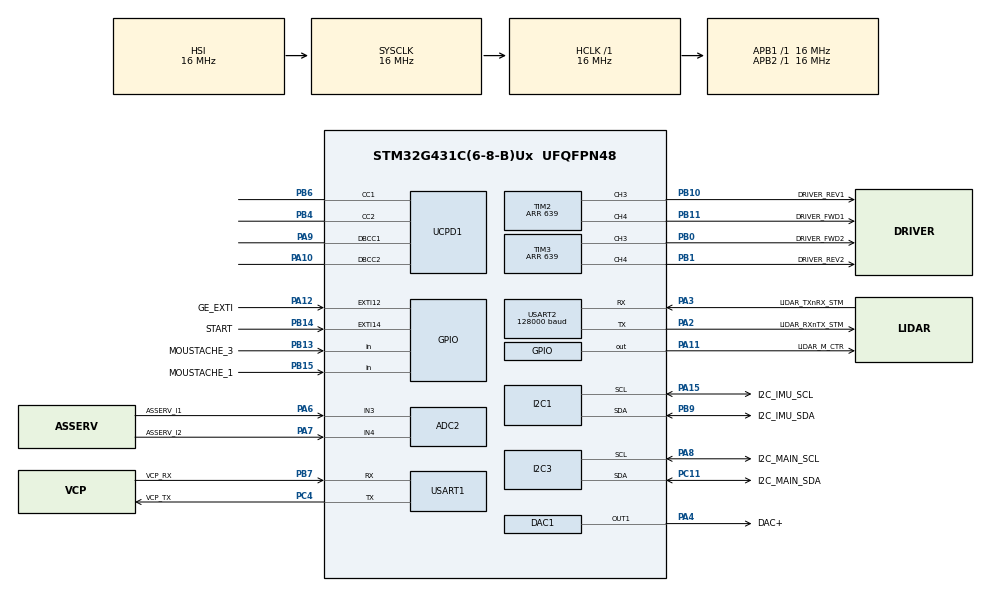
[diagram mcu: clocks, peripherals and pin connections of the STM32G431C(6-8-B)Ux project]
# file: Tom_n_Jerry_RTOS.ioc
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ADC2.Channel-0\#ChannelRegularConversion=ADC_CHANNEL_3
ADC2.Channel-1\#ChannelRegularConversion=ADC_CHANNEL_4
ADC2.ContinuousConvMode=DISABLE
ADC2.DMAContinuousRequests=ENABLE
ADC2.EOCSelection=ADC_EOC_SEQ_CONV
ADC2.ExternalTrigConv=ADC_EXTERNALTRIG_T15_TRGO
ADC2.NbrOfConversion=2
ADC2.NbrOfConversionFlag=1
ADC2.OffsetNumber-0\#ChannelRegularConversion=ADC_OFFSET_NONE
ADC2.OffsetNumber-1\#ChannelRegularConversion=ADC_OFFSET_NONE
ADC2.Rank-0\#ChannelRegularConversion=1
ADC2.Rank-1\#ChannelRegularConversion=2
ADC2.SamplingTime-0\#ChannelRegularConversion=ADC_SAMPLETIME_24CYCLES_5
ADC2.SamplingTime-1\#ChannelRegularConversion=ADC_SAMPLETIME_24CYCLES_5
DAC1.DAC_SignedFormat-DAC_OUT1=ENABLE
DAC1.DAC_Trigger_OUT1-DAC_OUT1=DAC_TRIGGER_T6_TRGO
Dma.ADC2.2.Direction=DMA_PERIPH_TO_MEMORY
Dma.ADC2.2.EventEnable=DISABLE
Dma.ADC2.2.Instance=DMA1_Channel3
Dma.ADC2.2.MemDataAlignment=DMA_MDATAALIGN_HALFWORD
Dma.ADC2.2.MemInc=DMA_MINC_ENABLE
Dma.ADC2.2.Mode=DMA_CIRCULAR
Dma.ADC2.2.PeriphDataAlignment=DMA_PDATAALIGN_HALFWORD
Dma.ADC2.2.PeriphInc=DMA_PINC_DISABLE
Dma.ADC2.2.Polarity=HAL_DMAMUX_REQ_GEN_RISING
Dma.ADC2.2.Priority=DMA_PRIORITY_LOW
Dma.ADC2.2.RequestNumber=1
Dma.ADC2.2.SignalID=NONE
Dma.ADC2.2.SyncEnable=DISABLE
Dma.ADC2.2.SyncPolarity=HAL_DMAMUX_SYNC_NO_EVENT
Dma.ADC2.2.SyncRequestNumber=1
Dma.ADC2.2.SyncSignalID=NONE
Dma.DAC1_CH1.4.Direction=DMA_MEMORY_TO_PERIPH
Dma.DAC1_CH1.4.EventEnable=DISABLE
Dma.DAC1_CH1.4.Instance=DMA1_Channel5
Dma.DAC1_CH1.4.MemDataAlignment=DMA_MDATAALIGN_BYTE
Dma.DAC1_CH1.4.MemInc=DMA_MINC_ENABLE
Dma.DAC1_CH1.4.Mode=DMA_NORMAL
Dma.DAC1_CH1.4.PeriphDataAlignment=DMA_PDATAALIGN_BYTE
Dma.DAC1_CH1.4.PeriphInc=DMA_PINC_DISABLE
Dma.DAC1_CH1.4.Polarity=HAL_DMAMUX_REQ_GEN_RISING
Dma.DAC1_CH1.4.Priority=DMA_PRIORITY_LOW
Dma.DAC1_CH1.4.RequestNumber=1
Dma.DAC1_CH1.4.SignalID=NONE
Dma.DAC1_CH1.4.SyncEnable=DISABLE
Dma.DAC1_CH1.4.SyncPolarity=HAL_DMAMUX_SYNC_NO_EVENT
Dma.DAC1_CH1.4.SyncRequestNumber=1
Dma.DAC1_CH1.4.SyncSignalID=NONE
Dma.Request0=UCPD1_RX
Dma.Request1=UCPD1_TX
Dma.Request2=ADC2
Dma.Request3=USART2_RX
Dma.Request4=DAC1_CH1
Dma.UCPD1_RX.0.Direction=DMA_PERIPH_TO_MEMORY
Dma.UCPD1_RX.0.EventEnable=DISABLE
Dma.UCPD1_RX.0.Instance=DMA1_Channel1
Dma.UCPD1_RX.0.MemDataAlignment=DMA_MDATAALIGN_BYTE
Dma.UCPD1_RX.0.MemInc=DMA_MINC_ENABLE
Dma.UCPD1_RX.0.Mode=DMA_NORMAL
Dma.UCPD1_RX.0.PeriphDataAlignment=DMA_PDATAALIGN_BYTE
Dma.UCPD1_RX.0.PeriphInc=DMA_PINC_DISABLE
Dma.UCPD1_RX.0.Polarity=HAL_DMAMUX_REQ_GEN_RISING
Dma.UCPD1_RX.0.Priority=DMA_PRIORITY_LOW
Dma.UCPD1_RX.0.RequestNumber=1
Dma.UCPD1_RX.0.SignalID=NONE
Dma.UCPD1_RX.0.SyncEnable=DISABLE
Dma.UCPD1_RX.0.SyncPolarity=HAL_DMAMUX_SYNC_NO_EVENT
Dma.UCPD1_RX.0.SyncRequestNumber=1
Dma.UCPD1_RX.0.SyncSignalID=NONE
Dma.UCPD1_TX.1.Direction=DMA_MEMORY_TO_PERIPH
Dma.UCPD1_TX.1.EventEnable=DISABLE
Dma.UCPD1_TX.1.Instance=DMA1_Channel2
Dma.UCPD1_TX.1.MemDataAlignment=DMA_MDATAALIGN_BYTE
Dma.UCPD1_TX.1.MemInc=DMA_MINC_ENABLE
Dma.UCPD1_TX.1.Mode=DMA_NORMAL
Dma.UCPD1_TX.1.PeriphDataAlignment=DMA_PDATAALIGN_BYTE
Dma.UCPD1_TX.1.PeriphInc=DMA_PINC_DISABLE
Dma.UCPD1_TX.1.Polarity=HAL_DMAMUX_REQ_GEN_RISING
Dma.UCPD1_TX.1.Priority=DMA_PRIORITY_LOW
Dma.UCPD1_TX.1.RequestNumber=1
Dma.UCPD1_TX.1.SignalID=NONE
Dma.UCPD1_TX.1.SyncEnable=DISABLE
Dma.UCPD1_TX.1.SyncPolarity=HAL_DMAMUX_SYNC_NO_EVENT
Dma.UCPD1_TX.1.SyncRequestNumber=1
Dma.UCPD1_TX.1.SyncSignalID=NONE
Dma.USART2_RX.3.Direction=DMA_PERIPH_TO_MEMORY
Dma.USART2_RX.3.EventEnable=DISABLE
Dma.USART2_RX.3.Instance=DMA1_Channel4
Dma.USART2_RX.3.MemDataAlignment=DMA_MDATAALIGN_BYTE
Dma.USART2_RX.3.MemInc=DMA_MINC_ENABLE
Dma.USART2_RX.3.Mode=DMA_CIRCULAR
Dma.USART2_RX.3.PeriphDataAlignment=DMA_PDATAALIGN_BYTE
Dma.USART2_RX.3.PeriphInc=DMA_PINC_DISABLE
Dma.USART2_RX.3.Polarity=HAL_DMAMUX_REQ_GEN_RISING
Dma.USART2_RX.3.Priority=DMA_PRIORITY_HIGH
Dma.USART2_RX.3.RequestNumber=1
Dma.USART2_RX.3.SignalID=NONE
Dma.USART2_RX.3.SyncEnable=DISABLE
Dma.USART2_RX.3.SyncPolarity=HAL_DMAMUX_SYNC_NO_EVENT
Dma.USART2_RX.3.SyncRequestNumber=1
Dma.USART2_RX.3.SyncSignalID=NONE
FREERTOS.Tasks01=defaultTask,-3,64,StartDefaultTask,As weak,NULL,Dynamic,NULL,NULL
FREERTOS.configGENERATE_RUN_TIME_STATS=1
FREERTOS.configMINIMAL_STACK_SIZE=64
FREERTOS.configTOTAL_HEAP_SIZE=16000
FREERTOS.configUSE_NEWLIB_REENTRANT=1
FREERTOS.configUSE_STATS_FORMATTING_FUNCTIONS=1
FREERTOS.configUSE_TRACE_FACILITY=1
I2C1.Timing=0x00503D58
I2C3.Timing=0x00503D58
Mcu.Family=STM32G4
Mcu.Name=STM32G431C(6-8-B)Ux
Mcu.Package=UFQFPN48
NVIC.ADC1_2_IRQn=true\:5\:0\:false\:false\:true\:true\:true\:true\:true
NVIC.DMA1_Channel1_IRQn=true\:5\:0\:false\:false\:true\:true\:false\:true\:true
NVIC.DMA1_Channel2_IRQn=true\:5\:0\:false\:false\:true\:true\:false\:true\:true
NVIC.DMA1_Channel3_IRQn=true\:5\:0\:false\:false\:true\:true\:false\:true\:true
NVIC.DMA1_Channel4_IRQn=true\:5\:0\:false\:false\:true\:true\:false\:true\:true
NVIC.DMA1_Channel5_IRQn=true\:5\:0\:false\:false\:true\:true\:false\:true\:true
NVIC.EXTI15_10_IRQn=true\:5\:0\:false\:false\:true\:true\:true\:true\:true
NVIC.PriorityGroup=NVIC_PRIORITYGROUP_4
NVIC.TIM1_BRK_TIM15_IRQn=true\:5\:0\:true\:false\:true\:true\:true\:true\:true
NVIC.TIM1_TRG_COM_TIM17_IRQn=true\:15\:0\:false\:false\:true\:false\:false\:true\:true
NVIC.TIM1_UP_TIM16_IRQn=true\:5\:0\:false\:false\:true\:true\:true\:true\:true
NVIC.TIM6_DAC_IRQn=true\:5\:0\:false\:false\:true\:true\:true\:true\:true
NVIC.TimeBase=TIM1_TRG_COM_TIM17_IRQn
NVIC.TimeBaseIP=TIM17
NVIC.UCPD1_IRQn=true\:5\:0\:false\:false\:true\:true\:true\:false\:true
NVIC.USART1_IRQn=true\:5\:0\:false\:false\:true\:true\:true\:true\:true
NVIC.USART2_IRQn=true\:5\:0\:false\:false\:true\:true\:true\:true\:true
PA10.Mode=EnableDeadBattery
PA10.Signal=UCPD1_DBCC2
PA11.GPIO_Label=LIDAR_M_CTR
PA11.PinState=GPIO_PIN_SET
PA11.Signal=GPIO_Output
PA12.GPIO_Label=GE_EXTI
PA12.GPIO_ModeDefaultEXTI=GPIO_MODE_IT_RISING
PA12.GPIO_PuPd=GPIO_PULLUP
PA12.Signal=GPXTI12
PA13.Mode=Trace_Asynchronous_SW
PA13.Signal=SYS_JTMS-SWDIO
PA14.Mode=Trace_Asynchronous_SW
PA14.Signal=SYS_JTCK-SWCLK
PA15.GPIO_Label=I2C_IMU_SCL
PA15.Mode=I2C
PA15.Signal=I2C1_SCL
PA2.GPIO_Label=LIDAR_RXnTX_STM
PA2.Mode=Asynchronous
PA2.Signal=USART2_TX
PA3.GPIO_Label=LIDAR_TXnRX_STM
PA3.Mode=Asynchronous
PA3.Signal=USART2_RX
PA4.GPIO_Label=DAC+
PA4.Signal=COMP_DAC11_group
PA6.GPIO_Label=ASSERV_I1
PA6.Mode=IN3-Single-Ended
PA6.Signal=ADC2_IN3
PA7.GPIO_Label=ASSERV_I2
PA7.Mode=IN4-Single-Ended
PA7.Signal=ADC2_IN4
PA8.GPIO_Label=I2C_MAIN_SCL
PA8.Mode=I2C
PA8.Signal=I2C3_SCL
PA9.Mode=EnableDeadBattery
PA9.Signal=UCPD1_DBCC1
PB0.GPIO_Label=DRIVER_FWD2
PB0.Signal=S_TIM3_CH3
PB1.GPIO_Label=DRIVER_REV2
PB1.Signal=S_TIM3_CH4
PB10.GPIO_Label=DRIVER_REV1
PB10.Signal=S_TIM2_CH3
PB11.GPIO_Label=DRIVER_FWD1
PB11.Signal=S_TIM2_CH4
PB13.GPIO_Label=MOUSTACHE_3
PB13.Signal=GPIO_Input
PB14.GPIO_Label=START
PB14.Signal=GPXTI14
PB15.GPIO_Label=MOUSTACHE_1
PB15.Signal=GPIO_Input
PB3.Mode=Trace_Asynchronous_SW
PB3.Signal=SYS_JTDO-SWO
PB4.Mode=Sink_AllSignals
PB4.Signal=UCPD1_CC2
PB6.Mode=Sink_AllSignals
PB6.Signal=UCPD1_CC1
PB7.GPIO_Label=VCP_RX
PB7.Mode=Asynchronous
PB7.Signal=USART1_RX
PB9.GPIO_Label=I2C_IMU_SDA
PB9.Mode=I2C
PB9.Signal=I2C1_SDA
PC11.GPIO_Label=I2C_MAIN_SDA
PC11.Mode=I2C
PC11.Signal=I2C3_SDA
PC4.GPIO_Label=VCP_TX
PC4.Mode=Asynchronous
PC4.Signal=USART1_TX
PF0-OSC_IN.Mode=HSE-External-Oscillator
PF0-OSC_IN.Signal=RCC_OSC_IN
PF1-OSC_OUT.Mode=HSE-External-Oscillator
PF1-OSC_OUT.Signal=RCC_OSC_OUT
ProjectManager.HeapSize=0x000
ProjectManager.StackSize=0x400
ProjectManager.TargetToolchain=STM32CubeIDE
RCC.AHBFreq_Value=16000000
RCC.APB1Freq_Value=16000000
RCC.APB1TimFreq_Value=16000000
RCC.APB2Freq_Value=16000000
RCC.APB2TimFreq_Value=16000000
RCC.CortexFreq_Value=16000000
RCC.EXTERNAL_CLOCK_VALUE=12288000
RCC.HCLKFreq_Value=16000000
RCC.HSE_VALUE=8000000
RCC.HSI48_VALUE=48000000
RCC.HSI_VALUE=16000000
RCC.LSE_VALUE=32768
RCC.SYSCLKFreq_VALUE=16000000
RCC.USBFreq_Value=64000000
RCC.VCOOutputFreq_Value=128000000
SH.COMP_DAC11_group.0=DAC1_OUT1,DAC_OUT1
SH.S_TIM2_CH3.0=TIM2_CH3,PWM Generation3 CH3
SH.S_TIM2_CH4.0=TIM2_CH4,PWM Generation4 CH4
SH.S_TIM3_CH3.0=TIM3_CH3,PWM Generation3 CH3
SH.S_TIM3_CH4.0=TIM3_CH4,PWM Generation4 CH4
TIM15.AutoReloadPreload=TIM_AUTORELOAD_PRELOAD_ENABLE
TIM15.PeriodNoDither=15999
TIM15.Prescaler=999
TIM15.TIM_MasterOutputTrigger=TIM_TRGO_UPDATE
TIM16.PeriodNoDither=15999
TIM16.Prescaler=4
TIM2.Channel-PWM\ Generation3\ CH3=TIM_CHANNEL_3
TIM2.Channel-PWM\ Generation4\ CH4=TIM_CHANNEL_4
TIM2.PeriodNoDither=639
TIM2.PulseNoDither_3=0
TIM2.PulseNoDither_4=0
TIM3.Channel-PWM\ Generation3\ CH3=TIM_CHANNEL_3
TIM3.Channel-PWM\ Generation4\ CH4=TIM_CHANNEL_4
TIM3.PeriodNoDither=639
TIM6.Prescaler=2000
TIM6.TIM_MasterOutputTrigger=TIM_TRGO_UPDATE
TIM7.PeriodNoDither=15999
USART1.SwapParam=ADVFEATURE_SWAP_ENABLE
USART1.VirtualMode-Asynchronous=VM_ASYNC
USART2.BaudRate=128000
USART2.VirtualMode-Asynchronous=VM_ASYNC
USBPD.CAD_AccesorySupport_P0=USBPD_FALSE
USBPD.Is_Alert_Supported_P0=USBPD_TRUE
USBPD.Is_FirmUpdateRequest_Supported_P0=USBPD_TRUE
USBPD.Is_GetBattery_Supported_P0=USBPD_TRUE
USBPD.Is_GetCountryCodes_Supported_P0=USBPD_TRUE
USBPD.Is_GetCountryInfo_Supported_P0=USBPD_TRUE
USBPD.Is_GetManufacturerInfo_Supported_P0=USBPD_TRUE
USBPD.Is_GetPPSStatus_Supported_P0=USBPD_TRUE
USBPD.Is_GetStatus_Supported_P0=USBPD_TRUE
USBPD.Is_SecurityRequest_Supported_P0=USBPD_TRUE
USBPD.Is_SrcCapaExt_Supported_P0=USBPD_TRUE
USBPD.PE_AttemptsDiscovSOP_P0=USBPD_TRUE
USBPD.PE_CapscounterSupport_P0=USBPD_TRUE
USBPD.PE_DataSwap_P0=USBPD_TRUE
USBPD.PE_RespondsToDiscovSOP_P0=USBPD_TRUE
USBPD.PE_UnchunkSupport_P0=USBPD_TRUE
USBPD.PE_VconnSwap_P0=USBPD_TRUE
USBPD.USBPD_PDO_FIXED_EXT_POWER_P0=VUSBPD_PDO_FIXED_EXT_POWER_SUPPORTED
USBPD.USBPD_PDO_FIXED_HIGHERCAPAB_P0=USBPD_PDO_SNK_FIXED_HIGHERCAPAB_SUPPORTED
USBPD.USBPD_PDO_FIXED_USBCOMM_P0=USBPD_PDO_FIXED_USBCOMM_SUPPORTED
USBPD.USBPD_PDO_FIXED_USBSUSPEND_P0=USBPD_PDO_SRC_FIXED_USBSUSPEND_SUPPORTED
USBPD.USBPD_PORT0_PDO_SNK_FIXED_SET_OP_CURRENT_0=3000
USBPD.USBPD_PORT0_PDO_SNK_FIXED_SET_VOLTAGE_0=9000
VP_FREERTOS_VS_CMSIS_V1.Mode=CMSIS_V1
VP_SYS_VS_DBSignals.Mode=DisableDeadBatterySignals
VP_SYS_VS_tim17.Mode=TIM17
VP_TIM15_VS_ClockSourceINT.Mode=Internal
VP_TIM16_VS_ClockSourceINT.Mode=Enable_Timer
VP_TIM2_VS_ClockSourceINT.Mode=Internal
VP_TIM3_VS_ClockSourceINT.Mode=Internal
VP_TIM4_VS_ClockSourceINT.Mode=Internal
VP_TIM6_VS_ClockSourceINT.Mode=Enable_Timer
VP_TIM7_VS_ClockSourceINT.Mode=Enable_Timer
VP_USBPD_VS_PD3MINSNK.Mode=PD3_Min_Snk
VP_USBPD_VS_USBPD1.Mode=USBPD_P0
VP_USBPD_VS_usbpd_tim1.Mode=TIM1
board=custom

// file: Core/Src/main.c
/* USER CODE BEGIN Header */
/**
 ******************************************************************************
 * @file           : main.c
 * @brief          : Main program body
 ******************************************************************************
 * @attention
 *
 * Copyright (c) 2024 STMicroelectronics.
 * All rights reserved.
 *
 * This software is licensed under terms that can be found in the LICENSE file
 * in the root directory of this software component.
 * If no LICENSE file comes with this software, it is provided AS-IS.
 *
 ******************************************************************************
 */
/* USER CODE END Header */
#include "main.h"
#include "cmsis_os.h"
#include "adc.h"
#include "dac.h"
#include "dma.h"
#include "i2c.h"
#include "tim.h"
#include "ucpd.h"
#include "usart.h"
#include "usbpd.h"
#include "gpio.h"

/* USER CODE BEGIN Includes */
#include "callBack.h"
#include "asserv.h"
#include "changeMode.h"
#include "lidar.h"
#include "init.h"

/* USER CODE END Includes */

/* USER CODE BEGIN PD */
#define TASK_STACK_DEPTH_SHELL 2048
#define TASK_PRIORITY_SHELL 2

#define TASK_STACK_DEPTH_ASSERV_I 64
#define TASK_PRIORITY_ASSERV_I 2

#define TASK_STACK_DEPTH_ASSERV_XYZ 64
#define TASK_PRIORITY_ASSERV_XYZ 3

#define TASK_STACK_DEPTH_CHANGEMODE 64
#define TASK_PRIORITY_CHANGEMODE 10

#define TASK_STACK_DEPTH_LIDAR 512
#define TASK_PRIORITY_LIDAR 5
/* USER CODE END PD */

/* USER CODE BEGIN PV */
HeapStats_t heapStats;

TaskHandle_t h_task_shell = NULL;
TaskHandle_t h_task_asserv_I = NULL;
TaskHandle_t h_task_asserv_XYZ = NULL;
TaskHandle_t h_task_changemenMode = NULL;
TaskHandle_t h_task_init= NULL;
TaskHandle_t h_task_LIDAR_Take = NULL;
TaskHandle_t h_task_LIDAR_Process = NULL;

SemaphoreHandle_t semb_halfCllbck;
SemaphoreHandle_t semb_cpltCllbck;

/* USER CODE END PV */

void SystemClock_Config(void);
void MX_FREERTOS_Init(void);

int main(void)
{

  /* MCU Configuration--------------------------------------------------------*/

  /* Reset of all peripherals, Initializes the Flash interface and the Systick. */
  HAL_Init();

  /* Configure the system clock */
  SystemClock_Config();

  /* Initialize all configured peripherals */
  MX_GPIO_Init();
  MX_DMA_Init();
  MX_ADC2_Init();
  MX_DAC1_Init();
  MX_I2C1_Init();
  MX_I2C3_Init();
  MX_TIM2_Init();
  MX_TIM3_Init();
  MX_TIM4_Init();
  MX_UCPD1_Init();
  MX_USART1_UART_Init();
  MX_USART2_UART_Init();
  MX_TIM15_Init();
  MX_TIM16_Init();
  MX_TIM6_Init();
  MX_TIM7_Init();
  /* USER CODE BEGIN 2 */

	semb_cpltCllbck = xSemaphoreCreateBinary();
	semb_halfCllbck = xSemaphoreCreateBinary();

	shell_init();
	lidar_init();
	changement_mode_init();

	vPortGetHeapStats(&heapStats);
	//xTaskCreate(init_run , 				"Initalisation",TASK_STACK_DEPTH_CHANGEMODE, NULL, 1, &h_task_init) != pdPASS ? Error_Handler():(void)0;
	vPortGetHeapStats(&heapStats);
	xTaskCreate(changeMode_run,			"Changement MODE", TASK_STACK_DEPTH_CHANGEMODE, NULL, TASK_PRIORITY_CHANGEMODE, &h_task_changemenMode) != pdPASS ? Error_Handler():(void)0;
	//vPortGetHeapStats(&heapStats);
	xTaskCreate(asserv_courant_run, 	"Asserv Courant", TASK_STACK_DEPTH_ASSERV_I, NULL, TASK_PRIORITY_ASSERV_I, &h_task_asserv_I) != pdPASS ? Error_Handler():(void)0;
	vPortGetHeapStats(&heapStats);
	//xTaskCreate(asserv_position_run, 	"Asserv Position", TASK_STACK_DEPTH_ASSERV_XYZ, NULL, TASK_PRIORITY_ASSERV_XYZ, &h_task_asserv_XYZ) != pdPASS ? Error_Handler():(void)0;
	vPortGetHeapStats(&heapStats);

	xTaskCreate(lidarprocess,			"LIDAR_Process", TASK_STACK_DEPTH_LIDAR, NULL, TASK_PRIORITY_LIDAR, &h_task_LIDAR_Process) != pdPASS ? Error_Handler():(void)0;
	vPortGetHeapStats(&heapStats);
	xTaskCreate(lidarTake,				"LIDAR_Take", TASK_STACK_DEPTH_LIDAR, NULL, TASK_PRIORITY_LIDAR+1, &h_task_LIDAR_Take) != pdPASS ? Error_Handler():(void)0;
	vPortGetHeapStats(&heapStats);
	xTaskCreate(shell_run,				"Shell", TASK_STACK_DEPTH_SHELL, NULL, TASK_PRIORITY_SHELL, &h_task_shell) != pdPASS ? Error_Handler():(void)0;
	vPortGetHeapStats(&heapStats);
	osKernelStart();
  /* USER CODE END 2 */

  /* USBPD initialisation ---------------------------------*/
  MX_USBPD_Init();

  /* Call init function for freertos objects (in cmsis_os2.c) */
  MX_FREERTOS_Init();

  /* Start scheduler */
  osKernelStart();

  /* We should never get here as control is now taken by the scheduler */

  /* Infinite loop */
	while (1)
	{

	}
}

void SystemClock_Config(void)
{
  RCC_OscInitTypeDef RCC_OscInitStruct = {0};
  RCC_ClkInitTypeDef RCC_ClkInitStruct = {0};

  /** Configure the main internal regulator output voltage
  */
  HAL_PWREx_ControlVoltageScaling(PWR_REGULATOR_VOLTAGE_SCALE1);

  /** Initializes the RCC Oscillators according to the specified parameters
  * in the RCC_OscInitTypeDef structure.
  */
  RCC_OscInitStruct.OscillatorType = RCC_OSCILLATORTYPE_HSI;
  RCC_OscInitStruct.HSIState = RCC_HSI_ON;
  RCC_OscInitStruct.HSICalibrationValue = RCC_HSICALIBRATION_DEFAULT;
  RCC_OscInitStruct.PLL.PLLState = RCC_PLL_NONE;
  if (HAL_RCC_OscConfig(&RCC_OscInitStruct) != HAL_OK)
  {
    Error_Handler();
  }

  /** Initializes the CPU, AHB and APB buses clocks
  */
  RCC_ClkInitStruct.ClockType = RCC_CLOCKTYPE_HCLK|RCC_CLOCKTYPE_SYSCLK
                              |RCC_CLOCKTYPE_PCLK1|RCC_CLOCKTYPE_PCLK2;
  RCC_ClkInitStruct.SYSCLKSource = RCC_SYSCLKSOURCE_HSI;
  RCC_ClkInitStruct.AHBCLKDivider = RCC_SYSCLK_DIV1;
  RCC_ClkInitStruct.APB1CLKDivider = RCC_HCLK_DIV1;
  RCC_ClkInitStruct.APB2CLKDivider = RCC_HCLK_DIV1;

  if (HAL_RCC_ClockConfig(&RCC_ClkInitStruct, FLASH_LATENCY_0) != HAL_OK)
  {
    Error_Handler();
  }
}

void HAL_TIM_PeriodElapsedCallback(TIM_HandleTypeDef *htim)
{
  /* USER CODE BEGIN Callback 0 */
	CUSTOM_TIM_PeriodElapsedCallback(htim);
  /* USER CODE END Callback 0 */
  if (htim->Instance == TIM17) {
    HAL_IncTick();
  }
}

void Error_Handler(void)
{
	__disable_irq();
	while (1)
	{
	}
}

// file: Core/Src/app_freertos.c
/* USER CODE BEGIN Header */
/**
  ******************************************************************************
  * File Name          : app_freertos.c
  * Description        : Code for freertos applications
  ******************************************************************************
  * @attention
  *
  * Copyright (c) 2024 STMicroelectronics.
  * All rights reserved.
  *
  * This software is licensed under terms that can be found in the LICENSE file
  * in the root directory of this software component.
  * If no LICENSE file comes with this software, it is provided AS-IS.
  *
  ******************************************************************************
  */
/* USER CODE END Header */

#include "FreeRTOS.h"
#include "task.h"
#include "main.h"
#include "cmsis_os.h"

osThreadId defaultTaskHandle;

void StartDefaultTask(void const * argument);

void MX_FREERTOS_Init(void); /* (MISRA C 2004 rule 8.1) */

/* Hook prototypes */
void configureTimerForRunTimeStats(void);
unsigned long getRunTimeCounterValue(void);

/* USER CODE BEGIN 1 */
/* Functions needed when configGENERATE_RUN_TIME_STATS is on */
__weak void configureTimerForRunTimeStats(void)
{

}

__weak unsigned long getRunTimeCounterValue(void)
{
return 0;
}
/* USER CODE END 1 */

void MX_FREERTOS_Init(void) {

  /* Create the thread(s) */
  /* definition and creation of defaultTask */
  osThreadDef(defaultTask, StartDefaultTask, osPriorityIdle, 0, 64);
  defaultTaskHandle = osThreadCreate(osThread(defaultTask), NULL);

}

__weak void StartDefaultTask(void const * argument)
{
	for(;;)
  {
    osDelay(1);
  }
}
